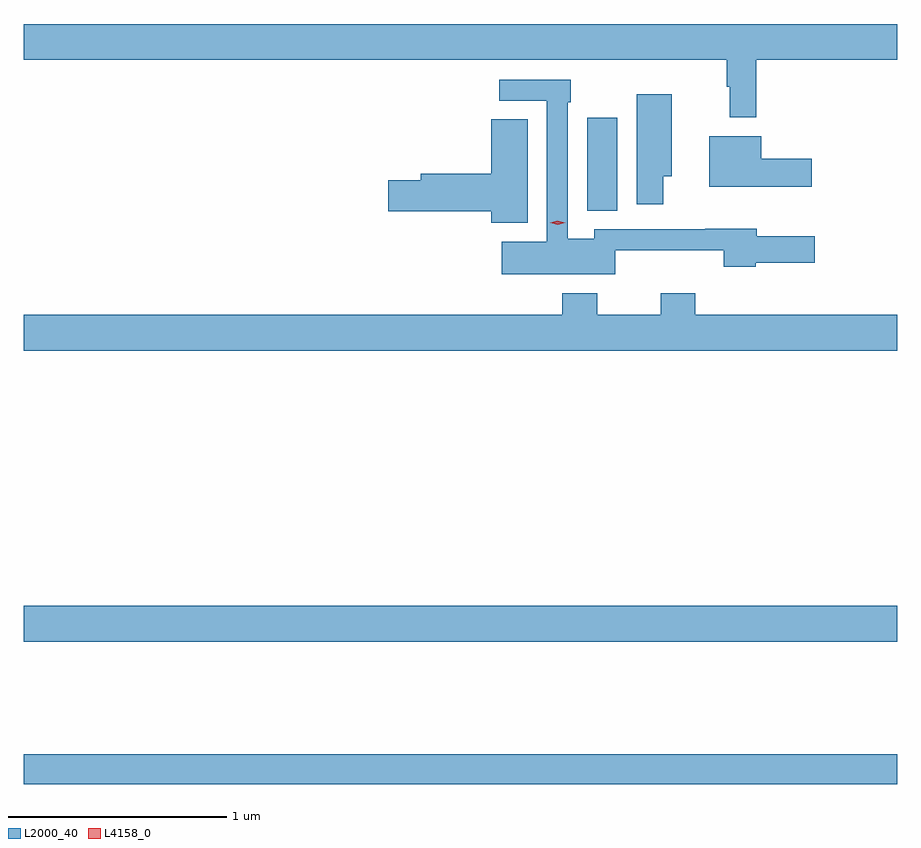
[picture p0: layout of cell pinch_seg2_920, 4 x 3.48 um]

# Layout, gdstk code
import gdstk
lib = gdstk.Library(unit=1e-6, precision=1e-09)
def R(c, l, rs):  # rectangles x0, y0, x1, y1
    for r in rs: c.add(gdstk.rectangle(r[:2], r[2:], *l))
def P(c, l, *ps):  # polygons
    for p in ps: c.add(gdstk.Polygon(p, *l))
L2000_40 = (2000, 40)
L4158_0 = (4158, 0)

pinch_seg2_920 = lib.new_cell('pinch_seg2_920')
R(pinch_seg2_920, L2000_40, [(264.676,657.64,268.676,657.776), (264.676,658.292,268.676,658.456), (267.257,660.265,267.394,660.691)])
P(pinch_seg2_920, L2000_40, [(268.031,660.956),(268.676,660.956),(268.676,661.12),(264.676,661.12),(264.676,660.956),(267.895,660.956),(267.895,660.833),(267.91,660.833),(267.91,660.693),(268.031,660.693)],
  [(267.384,660.083),(267.881,660.083),(267.881,660.008),(268.029,660.008),(268.029,660.026),(268.297,660.026),(268.297,660.148),(268.033,660.148),(268.033,660.182),(267.797,660.182),(267.797,660.18),(267.288,660.18),(267.288,660.136),(267.168,660.136),(267.168,660.761),(267.181,660.761),(267.181,660.864),(266.853,660.864),(266.853,660.768),(267.072,660.768),(267.072,660.124),(266.865,660.124),(266.865,659.975),(267.384,659.975)],
  [(267.604,660.422),(267.643,660.422),(267.643,660.799),(267.482,660.799),(267.482,660.294),(267.604,660.294)],
  [(266.983,660.683),(266.816,660.683),(266.816,660.434),(266.495,660.434),(266.495,660.404),(266.346,660.404),(266.346,660.262),(266.816,660.262),(266.816,660.209),(266.983,660.209)],
  [(268.285,660.504),(268.054,660.504),(268.054,660.607),(267.815,660.607),(267.815,660.374),(268.285,660.374)],
  [(268.676,659.788),(267.752,659.788),(267.752,659.887),(267.592,659.887),(267.592,659.788),(267.303,659.788),(267.303,659.887),(267.143,659.887),(267.143,659.788),(264.676,659.788),(264.676,659.624),(268.676,659.624)])
P(pinch_seg2_920, L4158_0, [(267.121,660.2),(267.086,660.209),(267.086,660.209),(267.086,660.209),(267.12,660.22),(267.155,660.211),(267.155,660.211),(267.155,660.21)])

lib.write_gds('pinch_seg2_920.gds')
